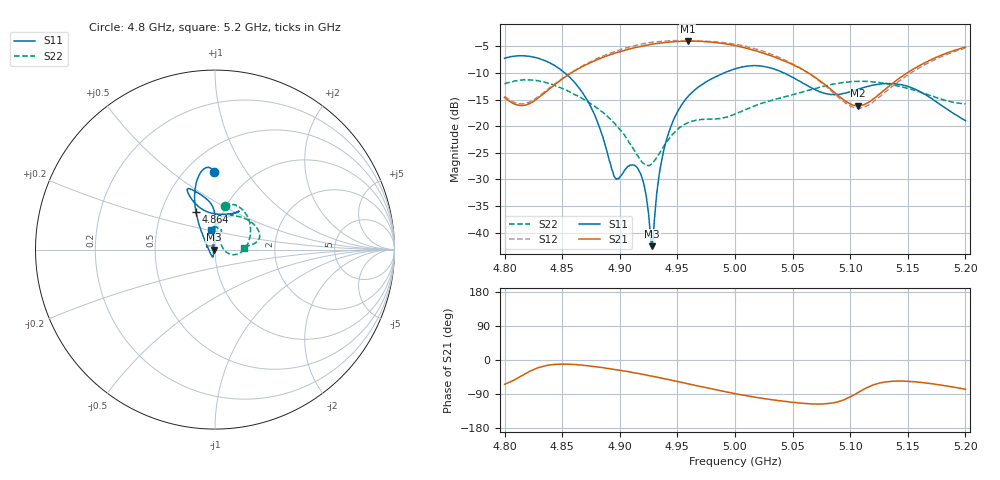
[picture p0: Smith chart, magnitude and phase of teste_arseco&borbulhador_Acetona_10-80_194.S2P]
! Network Analyzer HP8722D
! Hewlett-Packard
! Data name: Linha & Wilkinson
! Saver's name: Rodrigo Anjos
! Comments: Teste da utilização de aquisição
! continua pelo VNA HP8722D
! Time and date: 25/4/2025 16:53
!  Frequency  S11  S21  S12  S22
# HZ  S  MA R 50
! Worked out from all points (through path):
!   401 points, 4.8 GHz to 5.2 GHz, reference 50 ohm
!   highest |S21| = -3.99 dB at 4.959 GHz (marker M1); lowest = -16.2 dB at 5.107 GHz (marker M2)
!   lowest |S11| = -42.6 dB at 4.928 GHz (marker M3), VSWR 1.02, Z = 49.3 + j0.0368 ohm
!   |S11| at or under -10 dB: 4.852 GHz to 4.99 GHz (137.8 MHz wide, 2.8 % of centre); 5.043 GHz to end of sweep
!   |S22| runs from -27.4 to -11.2 dB; largest |S21 - S12| = 1.2
!   S11 on the Smith chart (normalised r, x): 4.8 GHz: 0.67, +0.72; 4.864 GHz: 0.75, +0.33; 5.2 GHz: 0.94, +0.21
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4.8e9  0.4349 91.0  0.1862 -64.1  0.1914 69.4  0.249 77.3
4.82e9  0.4551 97.3  0.1604 -32.8  0.1665 98.1  0.2738 61.6
4.843e9  0.3745 106.6  0.2439 -11.8  0.2476 118.8  0.2446 37.5
4.864e9  0.234 116.8  0.348 -12.6  0.3509 121.1  0.1904 12.4
4.867e9  0.211 118.6  0.3619 -13.6  0.3659 120.8  0.1834 9.1
4.88e9  0.1142 128.3  0.4213 -18.1  0.4312 118.4  0.1488 -4.7
4.896e9  0.03267 -169.8  0.486 -25.0  0.5054 113.3  0.1053 -15.4
4.91e9  0.04316 -107.5  0.5373 -32.2  0.5623 107.4  0.06561 -13.1
4.917e9  0.03741 -104.4  0.559 -36.1  0.587 103.7  0.04951 -0.5
4.922e9  0.02491 -108.6  0.5759 -38.9  0.601 100.9  0.04374 15.8
4.926e9  0.01128 -132.5  0.5851 -41.6  0.6101 98.6  0.04301 32.3
4.928e9  0.007454 177.1  0.5896 -42.7  0.6162 97.4  0.04478 40.2
4.934e9  0.03395 100.0  0.6028 -46.6  0.6267 93.5  0.0548 57.2
4.944e9  0.09701 91.0  0.6204 -52.8  0.635 87.0  0.07941 68.9
4.959e9  0.1895 89.7  0.6314 -62.4  0.638 77.6  0.108 70.8
5e9  0.3468 109.4  0.5732 -88.9  0.5922 51.0  0.1306 88.1
5.031e9  0.3527 115.4  0.4624 -104.5  0.477 33.4  0.174 84.8
5.067e9  0.2276 105.9  0.3011 -115.8  0.2989 23.6  0.2218 57.5
5.107e9  0.2234 64.5  0.1556 -85.6  0.1473 57.5  0.2639 24.4
5.134e9  0.2517 57.8  0.2392 -56.5  0.225 88.7  0.2483 12.6
5.168e9  0.1901 69.9  0.4114 -61.6  0.394 85.4  0.1963 7.1
5.2e9  0.113 100.8  0.5531 -77.4  0.5424 70.5  0.1624 3.8
